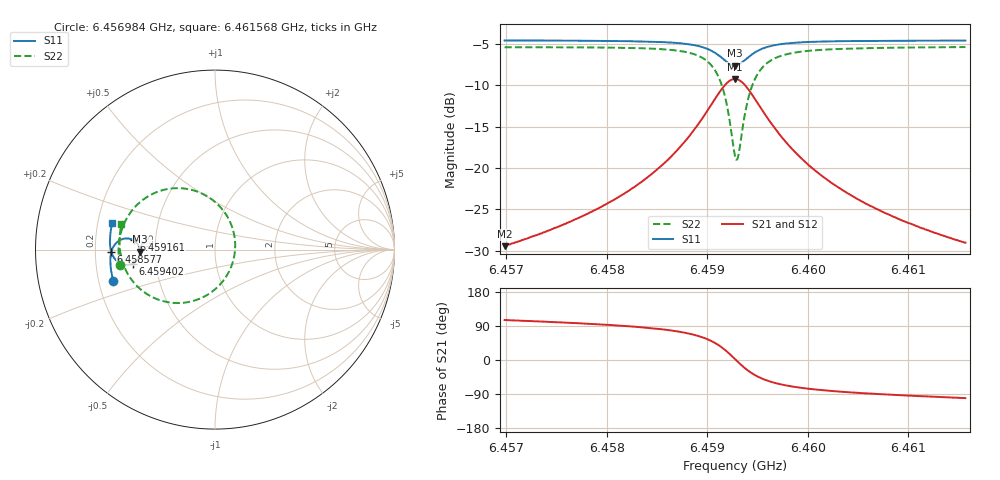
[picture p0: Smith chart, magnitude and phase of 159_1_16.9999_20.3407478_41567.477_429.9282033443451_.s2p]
#  HZ  S  RI  R  50.00
! Rohde & Schwarz Vector Network Analyzer
! Rohde-Schwarz,ZNB20-2Port,1311601062101988,3.16
! Created: UTC 3/20/2024, 10:59:10 PM
! freq[Hz]  re:S11  im:S11  re:S21  im:S21  re:S12  im:S12  re:S22  im:S22
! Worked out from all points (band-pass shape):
!   401 points, 6.456984 GHz to 6.461568 GHz, reference 50 ohm
!   highest |S21| = -9.21 dB at 6.459276 GHz (marker M1); lowest = -29.5 dB at 6.456984 GHz (marker M2)
!   |S21| within 3 dB of the highest: 6.459046 GHz to 6.459505 GHz (459.2 kHz wide, 0.00711 % of centre)
!   lowest |S11| = -7.6 dB at 6.459276 GHz (marker M3), VSWR 2.43, Z = 20.6 - j0.586 ohm
!   |S11| at or under -10 dB: nowhere
!   |S22| runs from -19.0 to -5.4 dB; largest |S21 - S12| = 0.013
!   S11 on the Smith chart (normalised r, x): 6.456984 GHz: 0.26, -0.14; 6.458577 GHz: 0.27, -0.01; 6.459161 GHz: 0.37, +0.05; 6.459402 GHz: 0.37, -0.07; 6.461568 GHz: 0.26, +0.12
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6.4569838e9  -0.5663 -0.173  -0.00903 0.0324  -0.0073 0.0324  -0.5319 -0.0854
6.4577516e9  -0.5804 -0.1058  -0.00563 0.0505  -0.00329 0.05  -0.5374 0.00446
6.4581757e9  -0.5833 -0.0632  0.000242 0.0701  0.00342 0.0687  -0.5295 0.0718
6.4585195e9  -0.5795 -0.022  0.014 0.0992  0.018 0.0965  -0.5042 0.1497
6.4585768e9  -0.5778 -0.014  0.0184 0.1061  0.0224 0.1029  -0.496 0.1663
6.458783e9  -0.5647 0.0181  0.046 0.1386  0.0501 0.1337  -0.4444 0.2392
6.458932e9  -0.5419 0.0444  0.0915 0.1694  0.0946 0.1627  -0.3606 0.3037
6.4590696e9  -0.4979 0.062  0.179 0.1858  0.18 0.1785  -0.201 0.3424
6.4591612e9  -0.4531 0.0515  0.2691 0.1544  0.2694 0.1486  -0.0346 0.2915
6.45923e9  -0.4241 0.0195  0.3296 0.0824  0.3317 0.077  0.0806 0.162
6.4592758e9  -0.4172 -0.0118  0.3459 0.0144  0.3495 0.00745  0.1125 0.0351
6.4592873e9  -0.4175 -0.0198  0.3456 -0.00336  0.3495 -0.0109  0.1121 0.00166
6.4593102e9  -0.4211 -0.0354  0.3401 -0.0381  0.344 -0.0471  0.101 -0.0641
6.4593561e9  -0.4368 -0.0617  0.3116 -0.0979  0.3137 -0.1097  0.0433 -0.1768
6.4594019e9  -0.4588 -0.078  0.2695 -0.139  0.2687 -0.1521  -0.0415 -0.2516
6.4594936e9  -0.5022 -0.0849  0.1847 -0.1701  0.1787 -0.1817  -0.2098 -0.2978
6.4596426e9  -0.5462 -0.0645  0.0969 -0.1566  0.0884 -0.1628  -0.3773 -0.2488
6.459803e9  -0.568 -0.037  0.0519 -0.1289  0.0443 -0.1316  -0.4577 -0.1771
6.4600437e9  -0.5808 -0.00145  0.0227 -0.0973  0.0169 -0.098  -0.506 -0.0948
6.4603646e9  -0.5855 0.0368  0.00721 -0.0719  0.00308 -0.0715  -0.5271 -0.0203
6.4608115e9  -0.5838 0.082  -0.00124 -0.052  -0.00405 -0.0512  -0.5322 0.052
6.4615679e9  -0.5719 0.1492  -0.00652 -0.0347  -0.00812 -0.0337  -0.5212 0.1415
